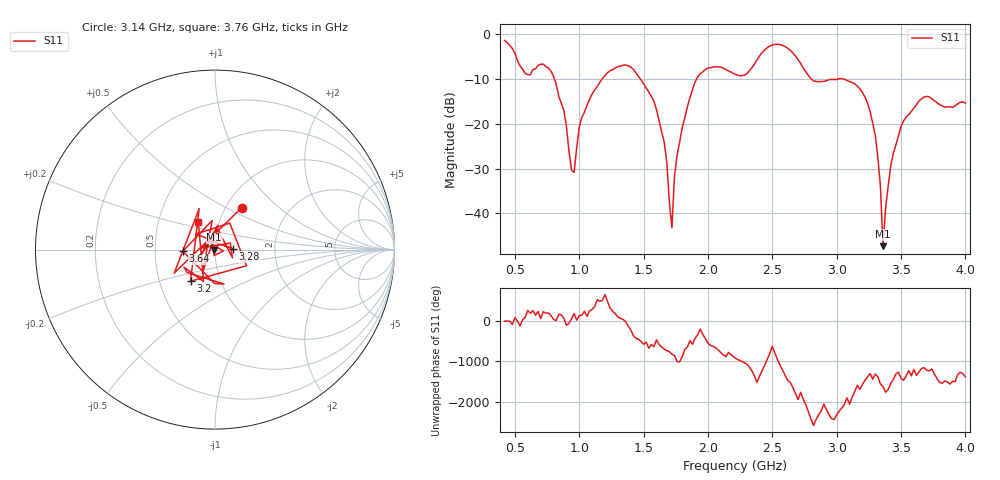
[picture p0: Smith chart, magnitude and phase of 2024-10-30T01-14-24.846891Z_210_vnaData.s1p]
!Created with skrf (http://scikit-rf.org).
# Hz S RI R 50.0
!freq ReS11 ImS11
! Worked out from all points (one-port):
!   180 points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, 420 MHz to 4 GHz, reference 50 ohm
!   lowest |S11| = -47.3 dB at 3.36 GHz (marker M1), VSWR 1.01, Z = 49.6 - j0.0161 ohm
!   |S11| at or under -10 dB: 806.7 MHz to 1.179 GHz (372.1 MHz wide, 37.5 % of centre); 1.473 GHz to 1.912 GHz (438.8 MHz wide, 25.9 % of centre); 3.045 GHz to end of sweep (the widest 3 of 4)
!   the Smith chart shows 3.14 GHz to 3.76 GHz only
!   S11 on the Smith chart (normalised r, x): 3.14 GHz: 1.19, +0.60; 3.2 GHz: 0.72, -0.27; 3.28 GHz: 1.23, +0.01; 3.64 GHz: 0.70, -0.01; 3.76 GHz: 0.79, +0.25
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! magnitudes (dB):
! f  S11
! 420 MHz  -1.5
! 580 MHz  -8.8
! 780 MHz  -8.3
! 880 MHz  -17.0
! 960 MHz  -30.8
! 1 GHz  -20.8
! 1.08 GHz  -14.6
! 1.32 GHz  -7.2
! 1.58 GHz  -15.0
! 1.66 GHz  -24.1
! 1.72 GHz  -43.2
! 1.74 GHz  -31.6
! 1.78 GHz  -24.1
! 1.92 GHz  -9.5
! 2.22 GHz  -9.1
! 2.66 GHz  -4.3
! 2.82 GHz  -10.5
! 3.12 GHz  -10.8
! 3.14 GHz  -11.1
! 3.2 GHz  -13.0
! 3.28 GHz  -19.9
! 3.34 GHz  -34.0
! 3.36 GHz  -47.3
! 3.42 GHz  -29.4
! 3.56 GHz  -18.0
! 3.64 GHz  -14.9
! 3.76 GHz  -14.9
! 4 GHz  -15.4
